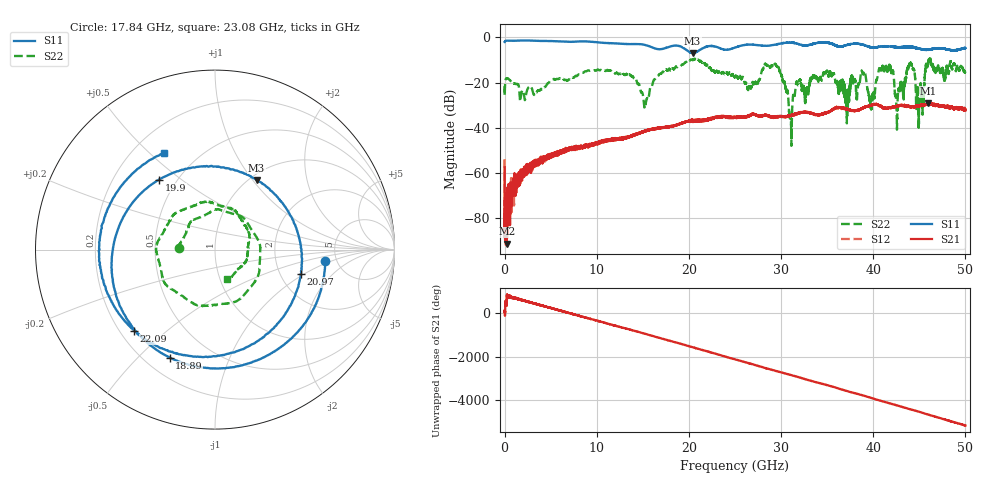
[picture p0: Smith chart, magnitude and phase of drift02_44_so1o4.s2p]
!Created with skrf (http://scikit-rf.org).
# Hz S RI R 50.0
!freq ReS11 ImS11 ReS21 ImS21 ReS12 ImS12 ReS22 ImS22
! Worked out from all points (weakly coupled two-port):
!   10001 points, 300 kHz to 50 GHz, reference 50 ohm
!   highest |S21| = -29.10 dB at 45.98 GHz (marker M1); lowest = -91.1 dB at 230.3 MHz (marker M2)
!   lowest |S11| = -6.9 dB at 20.4 GHz (marker M3), VSWR 2.64, Z = 53.8 + j52.3 ohm
!   |S11| at or under -10 dB: nowhere
!   |S22| runs from -47.9 to -9.0 dB; largest |S21 - S12| = 0.0031
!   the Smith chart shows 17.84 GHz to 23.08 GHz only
!   S11 on the Smith chart (normalised r, x): 17.84 GHz: 4.07, -0.80; 18.89 GHz: 0.30, -0.62; 19.9 GHz: 0.40, +0.42; 20.97 GHz: 2.59, -0.93; 22.09 GHz: 0.26, -0.39; 23.08 GHz: 0.32, +0.55
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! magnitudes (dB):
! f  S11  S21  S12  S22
! 300 kHz  -2.1  -57.4  -53.9  -21.5
! 230.3 MHz  -1.4  -91.1  -89.4  -18.0
! 8.335 GHz  -1.7  -48.8  -48.8  -15.7
! 15.32 GHz  -3.4  -41.4  -41.3  -29.4
! 16.67 GHz  -5.2  -39.9  -40.0  -16.9
! 17.84 GHz  -4.2  -39.5  -39.5  -14.0
! 18.89 GHz  -3.7  -38.3  -38.4  -12.5
! 19.9 GHz  -6.0  -37.0  -37.1  -10.1
! 20.4 GHz  -6.9  -37.1  -36.7  -10.0
! 20.97 GHz  -6.1  -36.6  -36.7  -9.7
! 22.09 GHz  -3.9  -36.6  -36.5  -12.8
! 23.08 GHz  -4.3  -35.1  -35.1  -14.9
! 25 GHz  -4.5  -35.6  -35.5  -17.5
! 29.51 GHz  -3.1  -34.9  -35.3  -12.5
! 31.03 GHz  -2.3  -34.5  -34.6  -35.1
! 33.34 GHz  -3.0  -33.5  -33.5  -18.2
! 39.74 GHz  -4.3  -30.0  -30.0  -30.7
! 41.67 GHz  -4.0  -31.0  -31.1  -13.0
! 44.18 GHz  -4.3  -30.7  -30.9  -12.3
! 44.85 GHz  -4.9  -30.1  -30.2  -25.6
! 45.98 GHz  -5.4  -29.1  -29.3  -10.7
! 50 GHz  -4.7  -32.3  -32.0  -15.9
